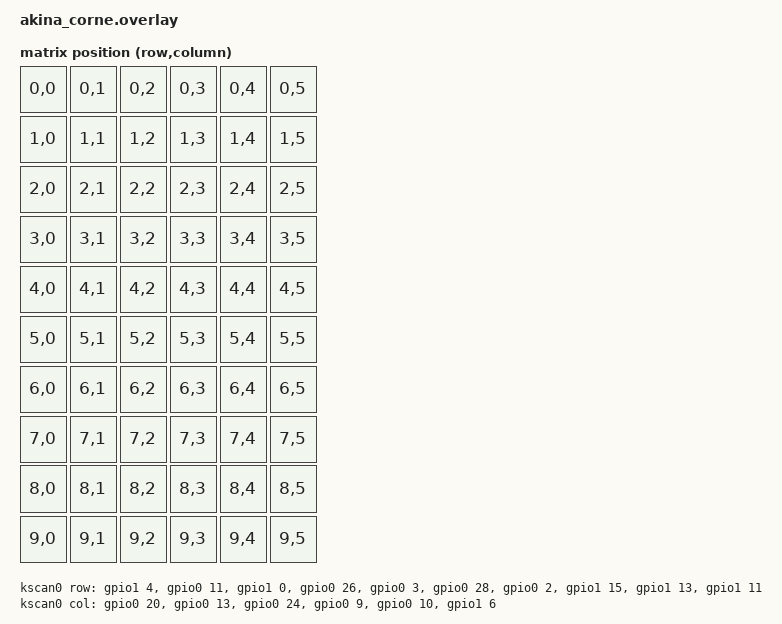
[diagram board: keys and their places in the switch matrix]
/*
 * Firmware de diagnóstico — Akina Corne Esquerdo
 *
 * Matriz ampliada para identificar quais pinos do nice!nano estão conectados.
 *
 * Direção dos diodos: col2row (padrão Corne)
 *   — Colunas são saídas (driven HIGH)
 *   — Linhas são entradas (com pull-down)
 *
 * Mapa de pinos:
 *   col-gpios[0..5]  = pro_micro 4, 5, 6, 7, 8, 9
 *   row-gpios[0..9]  = pro_micro 10, 11, 12, 13, 14, 15, 16, 17, 18, 19
 *
 * Referência nice!nano (Pro Micro):
 *   pm4=P0.20  pm5=P0.13  pm6=P0.24  pm7=P0.09  pm8=P0.10  pm9=P1.06
 *   pm10=P1.04 pm11=P0.11 pm12=P1.00 pm13=P0.26 pm14=P0.03
 *   pm15=P0.28 pm16=P0.02 pm17=P1.15 pm18=P1.13 pm19=P1.11
 *
 * Nota: pm0-pm3 não usados (fora do gpio-map do nice_nano//zmk)
 */

#include <dt-bindings/zmk/matrix_transform.h>

/ {
    chosen {
        zmk,kscan = &kscan0;
        zmk,matrix-transform = &default_transform;
    };

    default_transform: keymap_transform_0 {
        compatible = "zmk,matrix-transform";
        columns = <6>;
        rows = <10>;
        map = <
            RC(0,0) RC(0,1) RC(0,2) RC(0,3) RC(0,4) RC(0,5)
            RC(1,0) RC(1,1) RC(1,2) RC(1,3) RC(1,4) RC(1,5)
            RC(2,0) RC(2,1) RC(2,2) RC(2,3) RC(2,4) RC(2,5)
            RC(3,0) RC(3,1) RC(3,2) RC(3,3) RC(3,4) RC(3,5)
            RC(4,0) RC(4,1) RC(4,2) RC(4,3) RC(4,4) RC(4,5)
            RC(5,0) RC(5,1) RC(5,2) RC(5,3) RC(5,4) RC(5,5)
            RC(6,0) RC(6,1) RC(6,2) RC(6,3) RC(6,4) RC(6,5)
            RC(7,0) RC(7,1) RC(7,2) RC(7,3) RC(7,4) RC(7,5)
            RC(8,0) RC(8,1) RC(8,2) RC(8,3) RC(8,4) RC(8,5)
            RC(9,0) RC(9,1) RC(9,2) RC(9,3) RC(9,4) RC(9,5)
        >;
    };

    kscan0: kscan_0 {
        compatible = "zmk,kscan-gpio-matrix";
        wakeup-source;

        diode-direction = "col2row";

        col-gpios
            = <&gpio0 20 GPIO_ACTIVE_HIGH>   /* pm4  = P0.20 */
            , <&gpio0 13 GPIO_ACTIVE_HIGH>   /* pm5  = P0.13 */
            , <&gpio0 24 GPIO_ACTIVE_HIGH>   /* pm6  = P0.24 */
            , <&gpio0  9 GPIO_ACTIVE_HIGH>   /* pm7  = P0.09 */
            , <&gpio0 10 GPIO_ACTIVE_HIGH>   /* pm8  = P0.10 */
            , <&gpio1  6 GPIO_ACTIVE_HIGH>   /* pm9  = P1.06 */
            ;

        row-gpios
            = <&gpio1  4 (GPIO_ACTIVE_HIGH | GPIO_PULL_DOWN)>  /* pm10 = P1.04 */
            , <&gpio0 11 (GPIO_ACTIVE_HIGH | GPIO_PULL_DOWN)>  /* pm11 = P0.11 */
            , <&gpio1  0 (GPIO_ACTIVE_HIGH | GPIO_PULL_DOWN)>  /* pm12 = P1.00 */
            , <&gpio0 26 (GPIO_ACTIVE_HIGH | GPIO_PULL_DOWN)>  /* pm13 = P0.26 */
            , <&gpio0  3 (GPIO_ACTIVE_HIGH | GPIO_PULL_DOWN)>  /* pm14 = P0.03 */
            , <&gpio0 28 (GPIO_ACTIVE_HIGH | GPIO_PULL_DOWN)>  /* pm15 = P0.28 */
            , <&gpio0  2 (GPIO_ACTIVE_HIGH | GPIO_PULL_DOWN)>  /* pm16 = P0.02 */
            , <&gpio1 15 (GPIO_ACTIVE_HIGH | GPIO_PULL_DOWN)>  /* pm17 = P1.15 */
            , <&gpio1 13 (GPIO_ACTIVE_HIGH | GPIO_PULL_DOWN)>  /* pm18 = P1.13 */
            , <&gpio1 11 (GPIO_ACTIVE_HIGH | GPIO_PULL_DOWN)>  /* pm19 = P1.11 */
            ;
    };
};
